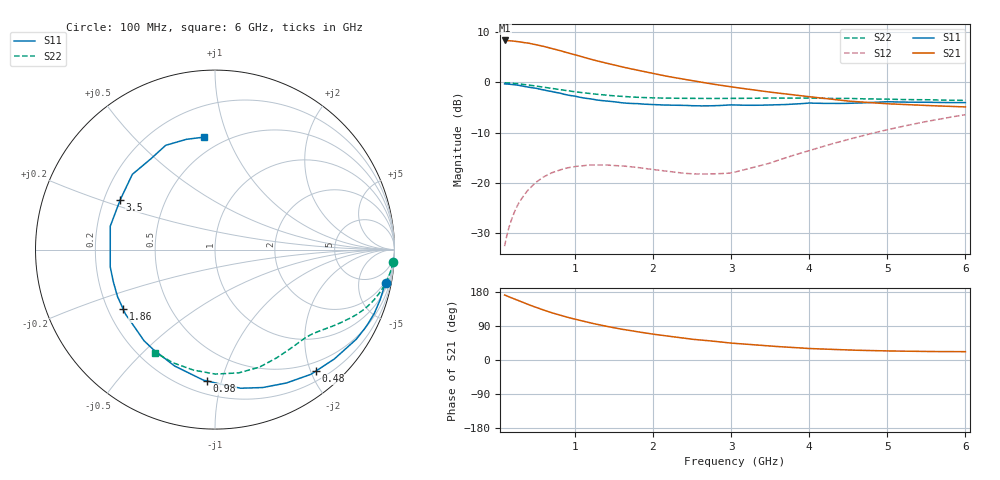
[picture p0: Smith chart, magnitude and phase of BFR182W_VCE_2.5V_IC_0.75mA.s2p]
! (c) 2015  Infineon Technologies AG, Munich
! Infineon Technologies  Discrete & RF Semiconductors
! BFR182W
! VCE =  2.5 V,  IC = 0.75 mA
! Common Emitter S-Parameters:  Nov 2015
# GHz  S  MA  R  50
!  f  S11  S21  S12  S22
! GHz  MAG  ANG  MAG  ANG  MAG  ANG  MAG  ANG
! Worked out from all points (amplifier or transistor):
!   192 points, 100 MHz to 6 GHz, reference 50 ohm
!   highest |S21| = 8.4 dB at 100 MHz (marker M1)
!   |S21| within 3 dB of that: start of sweep to 1.035 GHz
!   unconditionally stable (mu >= 1): 2.258 GHz to 3.436 GHz
!   at 440 MHz: K = 0.19, MSG = 14.3 dB, |S12| = -20.9 dB
!   at 1.7 GHz: K = 0.74, MSG = 9.8 dB, |S12| = -16.8 dB
!   at 6 GHz: K = 0.86, MSG = 0.8 dB, |S12| = -6.4 dB
!   S11 on the Smith chart (normalised r, x): 100 MHz: 2, -10; 480 MHz: 0.35, -2.08; 980 MHz: 0.28, -0.90; 1.86 GHz: 0.26, -0.28; 3.5 GHz: 0.27, +0.23; 6 GHz: 0.40, +0.82
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0.1  0.9679 -11.0  2.627 171.6  0.0232 82.8  0.9932 -4.1
0.16  0.9606 -17.6  2.609 166.4  0.0366 79.1  0.9878 -6.6
0.24  0.9471 -26.0  2.578 159.8  0.054 74.2  0.9763 -9.7
0.4  0.9019 -42.5  2.475 146.6  0.0843 64.6  0.944 -15.4
0.48  0.8797 -50.4  2.402 140.6  0.0971 59.9  0.9259 -18.0
0.6  0.8431 -61.8  2.293 131.8  0.1141 54.0  0.897 -21.6
0.7  0.8133 -70.9  2.19 124.9  0.125 49.4  0.8732 -24.1
0.8  0.7855 -79.5  2.091 118.6  0.1334 45.4  0.8493 -26.5
0.98  0.7333 -93.5  1.913 108.7  0.1439 39.2  0.8118 -30.0
1.1  0.7029 -101.9  1.796 102.9  0.1473 35.8  0.7905 -32.1
1.2  0.6863 -109.2  1.709 97.6  0.1501 33.1  0.774 -33.9
1.42  0.6511 -123.2  1.548 88.2  0.1496 29.0  0.7444 -37.1
1.6  0.6269 -133.6  1.433 81.3  0.1471 27.2  0.7265 -39.5
1.86  0.6093 -147.1  1.296 72.7  0.1397 26.4  0.7079 -43.1
2.08  0.5979 -157.5  1.194 66.1  0.1329 27.6  0.6995 -46.2
2.5  0.5861 -174.7  1.041 54.8  0.1224 34.8  0.6939 -52.0
3.1  0.5943 164.4  0.882 43.2  0.1303 54.5  0.6939 -62.0
3.5  0.5965 152.2  0.801 36.6  0.1568 65.4  0.7002 -69.3
4.1  0.6198 135.3  0.707 29.6  0.2206 71.1  0.6963 -81.2
4.5  0.6191 125.4  0.652 26.3  0.2693 70.9  0.6935 -89.9
5.1  0.6393 113.2  0.608 23.6  0.351 67.0  0.6783 -102.2
6  0.6297 95.6  0.57 22.0  0.4775 57.5  0.6633 -120.1
